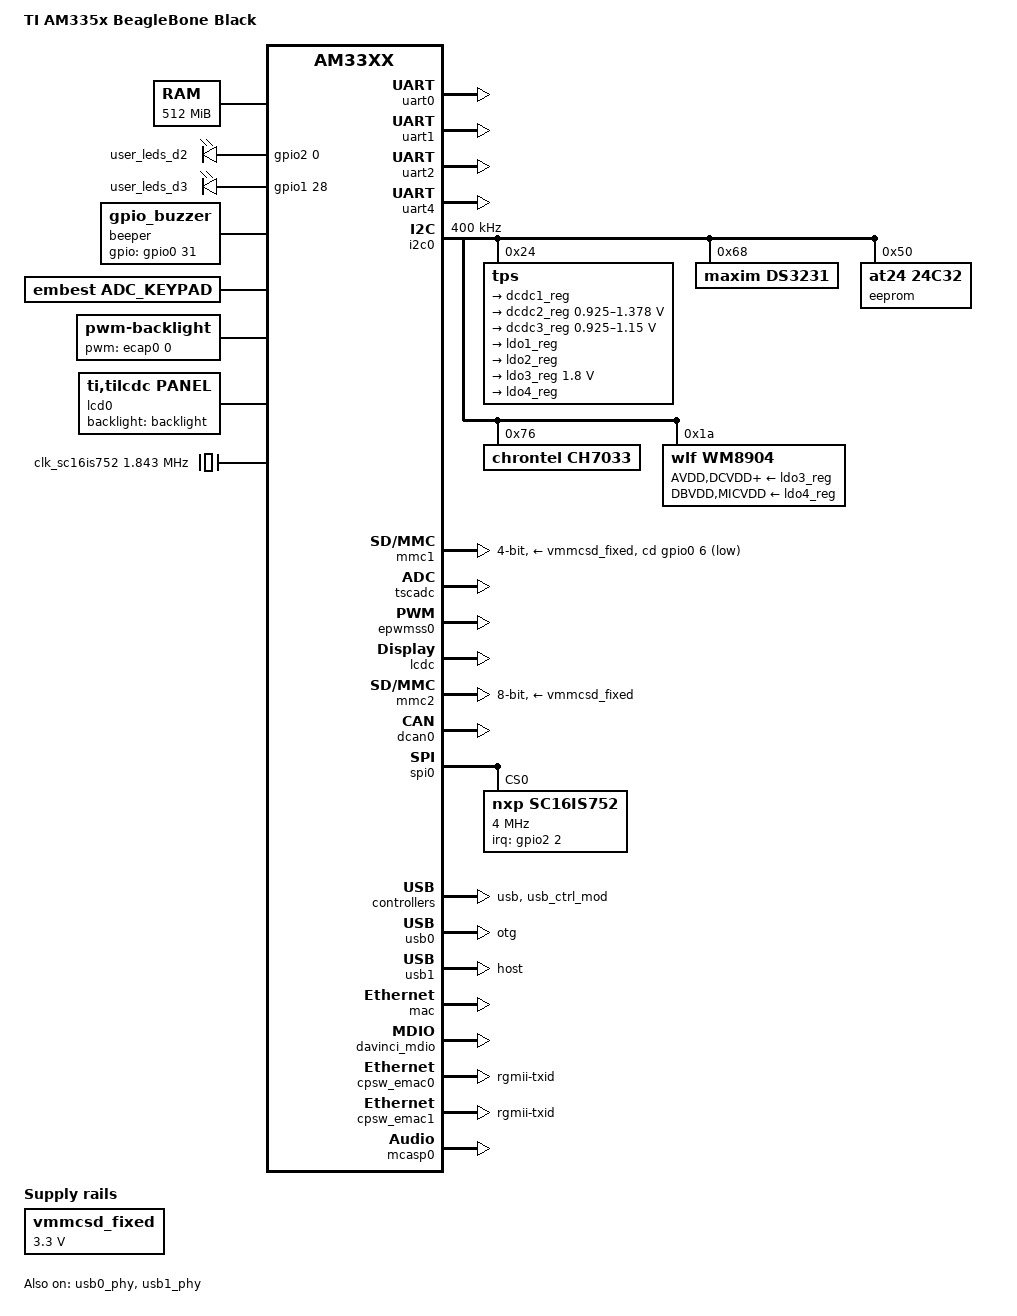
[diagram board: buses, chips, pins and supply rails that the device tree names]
/*
 * Copyright (C) 2015 Embest Technology Co., Ltd., - http://www.embest-tech.com
 *
 * This program is free software; you can redistribute it and/or modify
 * it under the terms of the GNU General Public License version 2 as
 * published by the Free Software Foundation.
 *
 * This dts is for embest own product:
 * SOM-PH8700 + BB-EPH1800
 */
/dts-v1/;

#include "am33xx.dtsi"

/ {
	model = "TI AM335x BeagleBone Black";
	compatible = "ti,am335x-bone-black", "ti,am335x-bone", "ti,am33xx";
	
	cpus {
		cpu@0 {
			cpu0-supply = <&dcdc2_reg>;
		};
	};
	
	memory {
		device_type = "memory";
		reg = <0x80000000 0x20000000>; /* 512 MB */
	};
	
	/* Voltage for mmc1 & mmc2 */
	vmmcsd_fixed: fixedregulator@0 {
		compatible = "regulator-fixed";
		regulator-name = "vmmcsd_fixed";
		regulator-min-microvolt = <3300000>;
		regulator-max-microvolt = <3300000>;
	};

	leds {
		pinctrl-names = "default";
		pinctrl-0 = <&user_leds>;

		compatible = "gpio-leds";

		led1 {
			label = "user_leds_d2";
			gpios = <&gpio2 0 GPIO_ACTIVE_HIGH>;
			linux,default-trigger = "none";
			default-state = "on";
		};

		led2 {
			label = "user_leds_d3";
			gpios = <&gpio1 28 GPIO_ACTIVE_HIGH>;
			linux,default-trigger = "none";
			default-state = "on";
		};
	};

	beeper {
		pinctrl-names = "default";
		pinctrl-0 = <&buzzer_pin>;
		compatible = "gpio_buzzer";
		gpios = <&gpio0 31 GPIO_ACTIVE_HIGH>;
	};

	adc_keypad{
		compatible = "embest, adc_keypad";
		status = "okay";

		key_name = "menu", "back";
		key_num = <2>;
		key_code = <139 102>;
		key_chan = <6 7>;
		key_val = <0 0>; 
		key_tolerance = <500 500>;
	};

	backlight: backlight {
		compatible = "pwm-backlight";
		pwms = <&ecap0 0 50000 0>;
		brightness-levels = <0 51 53 56 62 75 101 152 255>;
		default-brightness-level = <8>;
	};

	lcd0: panel {
		compatible = "ti,tilcdc,panel";
		status = "okay";
		backlight = <&backlight>;
		panel-info {
			ac-bias           = <255>;
			ac-bias-intrpt    = <0>;
			dma-burst-sz      = <16>;
			bpp               = <32>;
			fdd               = <0x80>;
			sync-edge         = <0>;
			sync-ctrl         = <1>;
			raster-order      = <0>;
			fifo-th           = <0>;
		};

		display-timings {
			/* This is the timing for 7inch_LCD */
			/*800x480p62 {
				clock-frequency = <36000000>;
				hactive = <800>;
				vactive = <480>;
				hfront-porch = <1>;
				hback-porch = <1>;
				hsync-len = <48>;
				vfront-porch = <12>;
				vback-porch = <25>;
				vsync-len = <5>;
				hsync-active = <0>;
				vsync-active = <0>;
				de-active = <1>;
				pixelclk-active = <1>;
			};*/

			/* This is the timing for 4.3inch_LCD */
			/*800x480p62 {
				clock-frequency = <30000000>;
				hactive = <480>;
				vactive = <272>;
				hfront-porch = <2>;
				hback-porch = <2>;
				hsync-len = <41>;
				vfront-porch = <2>;
				vback-porch = <2>;
				vsync-len = <10>;
				hsync-active = <0>;
				vsync-active = <0>;
			};*/

			/*This is the timing for HDMI&VGA*/
			/*1024x768p62 {
				clock-frequency = <80000000>;
				hactive = <1024>;
				vactive = <768>;
				hfront-porch = <18>;
				hback-porch = <297>;
				hsync-len = <53>;
				vfront-porch = <3>;
				vback-porch = <35>;
				vsync-len = <6>;
				hsync-active = <0>;
				vsync-active = <0>;
				de-active = <1>;
				pixelclk-active = <1>;
			};*/
		};
	};

	fragment@2 {
		target-path = "/clocks";
		__overlay__ {
			/* external oscillator of sc16is752 on SPI0 */
			clk_sc16is752: sc16is752_osc {
				compatible = "fixed-clock";
				#clock-cells = <0>;
				clock-frequency  = <1843200>;
			};
		};
	};

	sound {
		compatible = "simple-audio-card";

		simple-audio-card,name = "AM335x-PH8700";
		simple-audio-card,widgets =
						"Headphone", "Headphone Jack",
						"Microphone", "Microphone Jack";
		simple-audio-card,routing =
						"Headphone Jack",        "HPOUTL",
						"Headphone Jack",        "HPOUTR",
						"Microphone Jack",  "MICBIAS", 
						"IN1L", "Microphone Jack";
		simple-audio-card,format = "dsp_b";
		simple-audio-card,bitclock-master = <&sound_master>;
		simple-audio-card,frame-master = <&sound_master>;
		/*simple-audio-card,bitclock-inversion;*/
		simple-audio-card,cpu {
						sound-dai = <&mcasp0>;
						system-clock-frequency = <24000000>;
						system-clock-direction = "out";
		};

		sound_master: simple-audio-card,codec {
						sound-dai = <&wm8904>;
						system-clock-frequency = <24000000>;
						system-clock-direction = "in";
		};
	};

	hdmi {
		compatible = "ti,tilcdc,slave";
		i2c = <&i2c0>;
		status = "okay";
	};
};

&uart0 {
	pinctrl-names = "default";
	pinctrl-0 = <&uart0_pins>;
	status = "okay";
};

&uart1 {
	pinctrl-names = "default";
	pinctrl-0 = <&uart1_pins>;
	status = "okay";
};

&uart2 {
	pinctrl-names = "default";
	pinctrl-0 = <&uart2_pins>;
	status = "okay";
};

&uart4 {
	pinctrl-names = "default";
	pinctrl-0 = <&uart4_pins>;
	status = "okay";
};

&i2c0 {
	pinctrl-names = "default";
	pinctrl-0 = <&i2c0_pins>;

	status = "okay";
	clock-frequency = <400000>;

	tps: tps@24 {
		reg = <0x24>;
	};

	ds3231: ds3231@68 {
		compatible = "maxim,ds3231";
		reg = <0x68>;
		status = "okay";
	};

	eeprom: eeprom@50 {
		compatible = "at24,24c32";
		reg = <0x50>;
	};

	ch7033: ch7033@76 {
		compatible = "chrontel,ch7033";
		reg = <0x76>;
		status = "okay";
	};

	wm8904: wm8904@1a {
		#sound-dai-cells = <0>;
		compatible = "wlf,wm8904";
		reg = <0x1a>;
		status = "okay";

		/* Regulators */
		AVDD-supply = <&ldo3_reg>;
		DCVDD-supply = <&ldo3_reg>;
		DBVDD-supply = <&ldo4_reg>;
		CPVDD-supply = <&ldo3_reg>;
		MICVDD-supply = <&ldo4_reg>;
	};
};

&mmc1 {
	vmmc-supply = <&vmmcsd_fixed>;
	bus-width = <0x4>;
	pinctrl-names = "default", "sleep";
	pinctrl-0 = <&mmc1_pins_default>;
	pinctrl-1 = <&mmc1_pins_sleep>;
	cd-gpios = <&gpio0 6 GPIO_ACTIVE_HIGH>;
	cd-inverted;
	status = "okay";
};

/* RTC */
&rtc {
	status = "disabled";
};

&tscadc {
	status = "okay";

	tsc {
		ti,wires = <4>;
		ti,x-plate-resistance = <200>;
		ti,coordinate-readouts = <5>;
		ti,wire-config = <0x10 0x01 0x22 0x33>;
		ti,charge-delay = <0xf200>;
	};

	adc { 
		ti,adc-channels = <4 5 6 7>;
		ti,chan-step-opendelay = <0x098 0x3ffff 0x098 0x0>;
		ti,chan-step-sampledelay = <0xff 0x0 0xf 0x0>;
		ti,chan-step-avg = <16 2 4 8>; 
	};
};

&epwmss0 {
	status = "okay";

	ecap0: ecap@48300100 {
		status = "okay";
		pinctrl-names = "default";
		pinctrl-0 = <&ecap0_pins_default>;
	};
};

&lcdc {
	status = "okay";
	pinctrl-names = "default";
	pinctrl-0 = <&lcd_pins_default>;
};

/* eMMC sits on mmc2 */
&mmc2 {
	/*
	 * When enabling eMMC, disable GPMC/NAND and set
	 * SelEMMCorNAND to output-high
	 */
	status = "okay";
	vmmc-supply = <&vmmcsd_fixed>;
	bus-width = <8>;
	pinctrl-names = "default";
	pinctrl-0 = <&emmc_pins_default>;
};

&dcan0 {
		pinctrl-names = "default";
		pinctrl-0 = <&can0_pins>;
		status = "okay";
};

&spi0 {
	pinctrl-names = "default";
	pinctrl-0 = <&spi0_pins>;
	ti,pindir-d0-out-d1-in = <1>;
	status = "okay";

	sc16is752: sc16is752@0 {
		pinctrl-names = "default";
		pinctrl-0 = <&sc16is752_irq_pins>;	
		spi-max-frequency = <4000000>;
		reg = <0>; 
		compatible = "nxp,sc16is752";
		clocks = <&clk_sc16is752>;
		interrupt-parent = <&gpio2>;
		interrupts = <2 0x2>;
		gpio-controller;
		#gpio-cells = <1>;
	};
};

/* USB0:OTG USB1:HOST */
&usb {
	status = "okay";
};

&usb_ctrl_mod {
	status = "okay";
};

&usb0_phy {
	status = "okay";
};

&usb1_phy {
	status = "okay";
};

&usb0 {
	status = "okay";
	pinctrl-names = "default"; 
	pinctrl-0 = <&usb0_pins_default>; 
	dr_mode = "otg";
};

&usb1 {
	status = "okay";
	dr_mode = "host";
	pinctrl-names = "default"; 
	pinctrl-0 = <&usb1_pins_default>; 
};

&cppi41dma  {
	status = "okay";
};

/*Ethernet*/
&mac {
	pinctrl-names = "default", "sleep";
	pinctrl-0 = <&cpsw_default>;
	dual_emac = <1>;
	status = "okay";
};

&davinci_mdio {
	pinctrl-names = "default", "sleep";
	pinctrl-0 = <&davinci_mdio_default>;
	status = "okay";
};

&cpsw_emac0 {
	phy_id = <&davinci_mdio>, <4>;
	phy-mode = "rgmii-txid";
	dual_emac_res_vlan = <1>;
};

&cpsw_emac1 {
	phy_id = <&davinci_mdio>, <6>;
	phy-mode = "rgmii-txid";
	dual_emac_res_vlan = <2>;
};

/*Audio*/
&mcasp0 {
	#sound-dai-cells = <0>;
	pinctrl-names = "default";
	pinctrl-0 = <&mcasp0_pins>;

	status = "okay";

	op-mode = <0>;
	tdm-slots = <2>;
	serial-dir = <
		1 2  0 0
	>;

	tx-num-evt = <1>;
	rx-num-evt = <1>;
};

/include/ "tps65217.dtsi"

&tps {
	/*
	 * Configure pmic to enter OFF-state instead of SLEEP-state ("RTC-only
	 * mode") at poweroff.  Most BeagleBone versions do not support RTC-only
	 * mode and risk hardware damage if this mode is entered.
	 *
	 * For details, see linux-omap mailing list May 2015 thread
	 *	[PATCH] ARM: dts: am335x-bone* enable pmic-shutdown-controller
	 * In particular, messages:
	 *	http://www.spinics.net/lists/linux-omap/msg118585.html
	 *	http://www.spinics.net/lists/linux-omap/msg118615.html
	 *
	 * You can override this later with
	 *	&tps {  /delete-property/ ti,pmic-shutdown-controller;  }
	 * if you want to use RTC-only mode and made sure you are not affected
	 * by the hardware problems. (Tip: double-check by performing a current
	 * measurement after shutdown: it should be less than 1 mA.)
	 */
	ti,pmic-shutdown-controller;

	regulators {
		dcdc1_reg: regulator@0 {
			regulator-name = "vdds_dpr";
			regulator-always-on;
		};

		dcdc2_reg: regulator@1 {
			/* VDD_MPU voltage limits 0.95V - 1.325V with +/-4% tolerance */
			regulator-name = "vdd_mpu";
			regulator-min-microvolt = <925000>;
			regulator-max-microvolt = <1378000>;
			regulator-boot-on;
			regulator-always-on;
		};

		dcdc3_reg: regulator@2 {
			/* VDD_CORE voltage limits 0.95V - 1.1V with +/-4% tolerance */
			regulator-name = "vdd_core";
			regulator-min-microvolt = <925000>;
			regulator-max-microvolt = <1150000>;
			regulator-boot-on;
			regulator-always-on;
		};

		ldo1_reg: regulator@3 {
			regulator-name = "vio,vrtc,vdds";
			regulator-always-on;
		};

		ldo2_reg: regulator@4 {
			regulator-name = "vdd_3v3aux";
			regulator-always-on;
		};

		ldo3_reg: regulator@5 {
			regulator-name = "vdd_1v8";
			regulator-always-on;
		};

		ldo4_reg: regulator@6 {
			regulator-name = "vdd_3v3a";
			regulator-always-on;
		};
	};
};

&ldo3_reg {
	regulator-min-microvolt = <1800000>;
	regulator-max-microvolt = <1800000>;
	regulator-always-on;
};

&am33xx_pinmux {
	/* UART0 pins: rxd & txd */
	uart0_pins: pinmux_uart0_pins {
		pinctrl-single,pins = <
			0x170 (PIN_INPUT_PULLUP | MUX_MODE0)	/* uart0_rxd.uart0_rxd */
			0x174 (PIN_OUTPUT_PULLDOWN | MUX_MODE0)	/* uart0_txd.uart0_txd */
		>;
	};

	/* UART1 pins: rxd & txd */
	uart1_pins: pinmux_uart1_pins {
		pinctrl-single,pins = <
			0x180 (PIN_INPUT_PULLUP | MUX_MODE0)	/* uart1_rxd.uart1_rxd */
			0x184 (PIN_OUTPUT_PULLDOWN | MUX_MODE0)	/* uart1_txd.uart1_txd */
		>;
	};

	/* UART2 pins: rxd & txd */
	uart2_pins: pinmux_uart2_pins {
		pinctrl-single,pins = <
			0x10c (PIN_INPUT_PULLUP | MUX_MODE6)	/* gmii1_crs.uart2_rxd */ 
			0x110 (PIN_OUTPUT_PULLDOWN | MUX_MODE6)	/* gmii1_rxerr.uart2_txd */
		>;
	};

	/* UART4 pins: rxd & txd */
	uart4_pins: pinmux_uart4_pins {
		pinctrl-single,pins = <
			0x168 (PIN_INPUT_PULLUP | MUX_MODE1)	/* uart0_ctsn.uart4_rxd */
			0x16c (PIN_OUTPUT_PULLDOWN | MUX_MODE1)	/* uart0_rtsn.uart4_txd */
		>;
	};

	/* I2C0 pins: sda & scl */
	i2c0_pins: pinmux_i2c0_pins {
		pinctrl-single,pins = <
			0x188 (PIN_INPUT_PULLUP | MUX_MODE0)	/* i2c0_sda.i2c0_sda */
			0x18c (PIN_INPUT_PULLUP | MUX_MODE0)	/* i2c0_scl.i2c0_scl */
		>;
	};

	/* MMC1 pins:  data0 - data3; clk; cmd; detect pin */
	mmc1_pins_default: pinmux_mmc1_pins {
		pinctrl-single,pins = <
			0x0F0 (PIN_INPUT_PULLUP | MUX_MODE0)	/* mmc0_dat3.mmc0_dat3 */
			0x0F4 (PIN_INPUT_PULLUP | MUX_MODE0)	/* mmc0_dat2.mmc0_dat2 */
			0x0F8 (PIN_INPUT_PULLUP | MUX_MODE0)	/* mmc0_dat1.mmc0_dat1 */
			0x0FC (PIN_INPUT_PULLUP | MUX_MODE0)	/* mmc0_dat0.mmc0_dat0 */
			0x100 (PIN_INPUT_PULLUP | MUX_MODE0)	/* mmc0_clk.mmc0_clk */
			0x104 (PIN_INPUT_PULLUP | MUX_MODE0)	/* mmc0_cmd.mmc0_cmd */
			0x1A0 (PIN_INPUT_PULLUP | MUX_MODE7)	/* mcasp0_aclkr.gpio3_18 */
			0x160 (PIN_INPUT | MUX_MODE7)		/* spi0_cs1.gpio0_6 */
		>;
	};

	mmc1_pins_sleep: pinmux_mmc1_pins_sleep {
		pinctrl-single,pins = <
			0x0F0 (PIN_INPUT_PULLDOWN | MUX_MODE7)
			0x0F4 (PIN_INPUT_PULLDOWN | MUX_MODE7)
			0x0F8 (PIN_INPUT_PULLDOWN | MUX_MODE7)
			0x0FC (PIN_INPUT_PULLDOWN | MUX_MODE7)
			0x100 (PIN_INPUT_PULLDOWN | MUX_MODE7)
			0x104 (PIN_INPUT_PULLDOWN | MUX_MODE7)
			0x1A0 (PIN_INPUT_PULLDOWN | MUX_MODE7)
			0x160 (PIN_INPUT_PULLDOWN | MUX_MODE7)
		>;
	};

	user_leds: user_leds {
		pinctrl-single,pins = <
			0x088 (PIN_OUTPUT_PULLDOWN | MUX_MODE7)	/* gpmc_csn3.gpio2_0 */
			0x078 (PIN_OUTPUT_PULLDOWN | MUX_MODE7)	/* gpmc_ben1.gpio1_28 */
		>;
	};

	buzzer_pin: buzzer_pin {
		pinctrl-single,pins = <
			0x074 (PIN_OUTPUT_PULLUP | MUX_MODE7)	/* GPMC_WPN.gpio0_31 MODE7 */
		>;
	};

	ecap0_pins_default: backlight_pins {
		pinctrl-single,pins = <
			0x164 0x0	/* eCAP0_in_PWM0_out.eCAP0_in_PWM0_out MODE0 */
		>;
	};

	lcd_pins_default: lcd_pins_default {
		pinctrl-single,pins = <
			0x20 (PIN_OUTPUT | MUX_MODE1)		/* gpmc_ad8.lcd_data23 */
			0x24 (PIN_OUTPUT | MUX_MODE1)		/* gpmc_ad9.lcd_data22 */
			0x28 (PIN_OUTPUT | MUX_MODE1)		/* gpmc_ad10.lcd_data21 */
			0x2c (PIN_OUTPUT | MUX_MODE1)		/* gpmc_ad11.lcd_data20 */
			0x30 (PIN_OUTPUT | MUX_MODE1)		/* gpmc_ad12.lcd_data19 */
			0x34 (PIN_OUTPUT | MUX_MODE1)		/* gpmc_ad13.lcd_data18 */
			0x38 (PIN_OUTPUT | MUX_MODE1)		/* gpmc_ad14.lcd_data17 */
			0x3c (PIN_OUTPUT | MUX_MODE1)		/* gpmc_ad15.lcd_data16 */
			0xa0 (PIN_OUTPUT | MUX_MODE0)		/* lcd_data0.lcd_data0 */
			0xa4 (PIN_OUTPUT | MUX_MODE0)		/* lcd_data1.lcd_data1 */
			0xa8 (PIN_OUTPUT | MUX_MODE0)		/* lcd_data2.lcd_data2 */
			0xac (PIN_OUTPUT | MUX_MODE0)		/* lcd_data3.lcd_data3 */
			0xb0 (PIN_OUTPUT | MUX_MODE0)		/* lcd_data4.lcd_data4 */
			0xb4 (PIN_OUTPUT | MUX_MODE0)		/* lcd_data5.lcd_data5 */
			0xb8 (PIN_OUTPUT | MUX_MODE0)		/* lcd_data6.lcd_data6 */
			0xbc (PIN_OUTPUT | MUX_MODE0)		/* lcd_data7.lcd_data7 */
			0xc0 (PIN_OUTPUT | MUX_MODE0)		/* lcd_data8.lcd_data8 */
			0xc4 (PIN_OUTPUT | MUX_MODE0)		/* lcd_data9.lcd_data9 */
			0xc8 (PIN_OUTPUT | MUX_MODE0)		/* lcd_data10.lcd_data10 */
			0xcc (PIN_OUTPUT | MUX_MODE0)		/* lcd_data11.lcd_data11 */
			0xd0 (PIN_OUTPUT | MUX_MODE0)		/* lcd_data12.lcd_data12 */
			0xd4 (PIN_OUTPUT | MUX_MODE0)		/* lcd_data13.lcd_data13 */
			0xd8 (PIN_OUTPUT | MUX_MODE0)		/* lcd_data14.lcd_data14 */
			0xdc (PIN_OUTPUT | MUX_MODE0)		/* lcd_data15.lcd_data15 */
			0xe0 (PIN_OUTPUT | MUX_MODE0)		/* lcd_vsync.lcd_vsync */
			0xe4 (PIN_OUTPUT | MUX_MODE0)		/* lcd_hsync.lcd_hsync */
			0xe8 (PIN_OUTPUT | MUX_MODE0)		/* lcd_pclk.lcd_pclk */
			0xec (PIN_OUTPUT | MUX_MODE0)		/* lcd_ac_bias_en.lcd_ac_bias_en */
		>;
	};

	/* eMMC pins:  data0 - data7; clk; cmd;  */
	emmc_pins_default: emmc_pins_default {
		pinctrl-single,pins = <
			0x00 (PIN_INPUT_PULLUP | MUX_MODE1) /* gpmc_ad0.mmc1_dat0 */
			0x04 (PIN_INPUT_PULLUP | MUX_MODE1) /* gpmc_ad1.mmc1_dat1 */
			0x08 (PIN_INPUT_PULLUP | MUX_MODE1) /* gpmc_ad2.mmc1_dat2 */
			0x0c (PIN_INPUT_PULLUP | MUX_MODE1) /* gpmc_ad3.mmc1_dat3 */
			0x10 (PIN_INPUT_PULLUP | MUX_MODE1) /* gpmc_ad4.mmc1_dat4 */
			0x14 (PIN_INPUT_PULLUP | MUX_MODE1) /* gpmc_ad5.mmc1_dat5 */
			0x18 (PIN_INPUT_PULLUP | MUX_MODE1) /* gpmc_ad6.mmc1_dat6 */
			0x1c (PIN_INPUT_PULLUP | MUX_MODE1) /* gpmc_ad7.mmc1_dat7 */
			0x80 (PIN_INPUT_PULLUP | MUX_MODE2) /* gpmc_csn1.mmc1_clk */
			0x84 (PIN_INPUT_PULLUP | MUX_MODE2) /* gpmc_csn2.mmc1_cmd */
		>;
	};

	/* CAN0 pins: rxd & txd */        
	can0_pins: pinmux_can0_pins {
				pinctrl-single,pins = <
						0x17C (PIN_INPUT_PULLUP | MUX_MODE2)        /* uart1_rtsn.can0_rxd */
						0x178 (PIN_OUTPUT_PULLDOWN | MUX_MODE2)     /* uart1_ctsn.can0_txd */
				>;
	};

	spi0_pins: pinmux_spi0 {
		pinctrl-single,pins = <
			0x150 (PIN_INPUT_PULLUP | MUX_MODE0) /* spi0_sclk.spi0_sclk */
			0x154 (PIN_OUTPUT_PULLUP | MUX_MODE0) /* spi0_d0.spi0_d0 */
			0x158 (PIN_INPUT_PULLUP | MUX_MODE0) /* spi0_d1.spi0_d1 */
			0x15C (PIN_OUTPUT_PULLUP | MUX_MODE0) /* spi0_cs0.spi0_cs0 */
		>;
	};

	sc16is752_irq_pins: sc16is752_irq_pins {
		pinctrl-single,pins = <
			0x090 (PIN_INPUT | MUX_MODE7)	    /* gpmc_advn_ale.gpio2_2 */
		>;
	};

	usb0_pins_default: pinmux_usb0_pins { 
		pinctrl-single,pins = < 
			0x21c (PIN_OUTPUT | MUX_MODE0) /* usb0_drvvbus.usb0_drvvbus */ 
		>; 
	}; 

	usb1_pins_default: pinmux_usb1_pins { 
		pinctrl-single,pins = < 
			0x234 (PIN_OUTPUT | MUX_MODE0) /* usb1_drvvbus.usb1_drvvbus */ 
		>; 
	};

	/*Ethernet data pins*/
	cpsw_default: cpsw_default {
		pinctrl-single,pins = <
			/* Slave 0 */
			0x114 (PIN_OUTPUT_PULLDOWN | MUX_MODE2)	/* mii1_txen.rmii1_tclt */
			0x118 (PIN_INPUT_PULLDOWN | MUX_MODE2)	/* mii1_rxdv.rgmii1_rclt */
			0x11c (PIN_OUTPUT_PULLDOWN | MUX_MODE2)	/* mii1_txd3.rgmii1_td3 */
			0x120 (PIN_OUTPUT_PULLDOWN | MUX_MODE2)	/* mii1_txd2.rgmii1_td2 */
			0x124 (PIN_OUTPUT_PULLDOWN | MUX_MODE2)	/* mii1_txd1.rgmii1_td1 */
			0x128 (PIN_OUTPUT_PULLDOWN | MUX_MODE2)	/* mii1_txd0.rgmii1_td0 */
			0x12c (PIN_OUTPUT_PULLDOWN | MUX_MODE2)	/* mii1_txclk.rgmii1_tclk */
			0x130 (PIN_INPUT_PULLDOWN | MUX_MODE2)	/* mii1_rxclk.rgmii1_rclk */
			0x134 (PIN_INPUT_PULLDOWN | MUX_MODE2)	/* mii1_rxd3.rgmii1_rd3 */
			0x138 (PIN_INPUT_PULLDOWN | MUX_MODE2)	/* mii1_rxd2.rgmii1_rd2 */
			0x13c (PIN_INPUT_PULLDOWN | MUX_MODE2)	/* mii1_rxd1.rgmii1_rd1 */
			0x140 (PIN_INPUT_PULLDOWN | MUX_MODE2)	/* mii1_rxd0.rgmii1_rd0 */

			/* Slave 1 */
			0x040 (PIN_OUTPUT_PULLDOWN | MUX_MODE2)	/* gpmc_a0.rgmii2_tctl */
			0x044 (PIN_INPUT_PULLDOWN | MUX_MODE2)	/* gpmc_a1.rgmii2_rctl */
			0x048 (PIN_OUTPUT_PULLDOWN | MUX_MODE2)	/* gpmc_a2.rgmii2_td3 */
			0x04c (PIN_OUTPUT_PULLDOWN | MUX_MODE2)	/* gpmc_a3.rgmii2_td2 */
			0x050 (PIN_OUTPUT_PULLDOWN | MUX_MODE2)  /* gpmc_a4.rgmii2_td1 */
			0x054 (PIN_OUTPUT_PULLDOWN | MUX_MODE2)	/* gpmc_a5.rgmii2_td0 */
			0x058 (PIN_OUTPUT_PULLDOWN | MUX_MODE2)  /* gpmc_a6.rgmii2_tclk */
			0x05c (PIN_INPUT_PULLDOWN | MUX_MODE2)	/* gpmc_a7.rgmii2_rclk */
			0x060 (PIN_INPUT_PULLDOWN | MUX_MODE2)	/* gpmc_a8.rgmii2_rd3 */
			0x064 (PIN_INPUT_PULLDOWN | MUX_MODE2)	/* gpmc_a9.rgmii2_rd2 */
			0x068 (PIN_INPUT_PULLDOWN | MUX_MODE2)	/* gpmc_a10.rgmii2_rd1 */
			0x06c (PIN_INPUT_PULLDOWN | MUX_MODE2)	/* gpmc_a11.rgmii2_rd0 */
		>;
	};

	/*Ethernet control pins, control the PHY*/
	davinci_mdio_default: davinci_mdio_default {
		pinctrl-single,pins = <
			/* MDIO */
			0x148 (PIN_INPUT_PULLUP | SLEWCTRL_FAST | MUX_MODE0)	/* mdio_data.mdio_data */
			0x14c (PIN_OUTPUT_PULLUP | MUX_MODE0)			        /* mdio_clk.mdio_clk */
		>;
	};

	/*AUDIO Pins*/
	mcasp0_pins: mcasp0_pins {
		pinctrl-single,pins = <
			0x190 (PIN_INPUT_PULLDOWN | MUX_MODE0)        /* MCASP0_ACLKX.MCASP0_ACLKX */
			0x194 (PIN_INPUT_PULLDOWN | MUX_MODE0)        /* MCASP0_FSX.MCASP0_FSX */
			0x198 (PIN_OUTPUT_PULLDOWN | MUX_MODE0)       /* MCASP0_AXR0.MCASP0_AXR0 */
			0x1a8 (PIN_INPUT_PULLDOWN | MUX_MODE0)        /* MCASP0_AXR1.MCASP0_AXR1 */
			0x1ac (PIN_OUTPUT_PULLDOWN | MUX_MODE0)       /* MCASP0_AHCLKX.MCASP0_AHCLKX */
		>;
	};
};
